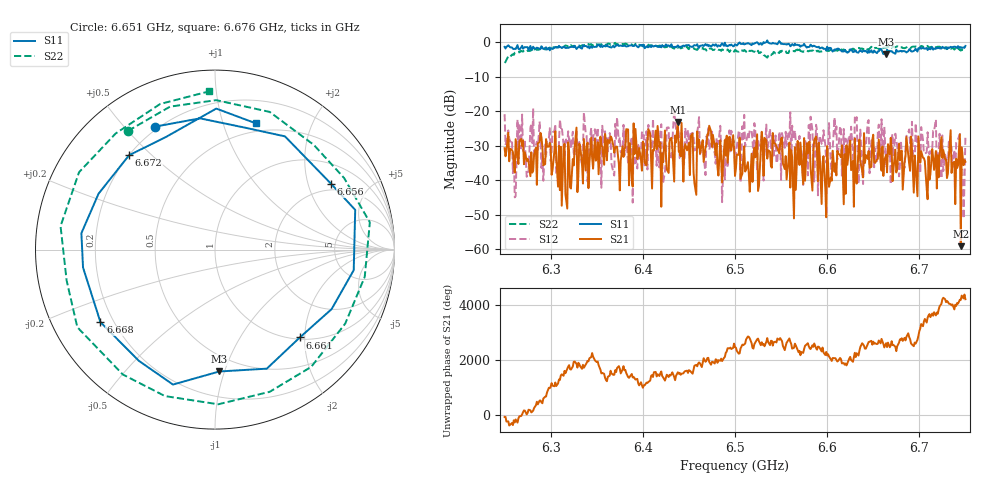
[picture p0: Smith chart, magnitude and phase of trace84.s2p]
# Hz S RI R 50
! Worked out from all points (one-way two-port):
!   401 points, 6.25 GHz to 6.75 GHz, reference 50 ohm
!   highest |S21| = -23.06 dB at 6.438 GHz (marker M1); lowest = -59.2 dB at 6.745 GHz (marker M2)
!   lowest |S11| = -3.4 dB at 6.664 GHz (marker M3), VSWR 5.24, Z = 19 - j48 ohm
!   |S11| at or under -10 dB: nowhere
!   |S22| runs from -5.9 to -0.1 dB; largest |S21 - S12| = 0.12
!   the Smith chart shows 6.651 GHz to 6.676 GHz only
!   S11 on the Smith chart (normalised r, x): 6.651 GHz: 0.19, +0.61; 6.656 GHz: 1.73, +2.83; 6.661 GHz: 1.04, -1.89; 6.668 GHz: 0.15, -0.28; 6.672 GHz: 0.20, +0.43; 6.676 GHz: 0.42, +1.29
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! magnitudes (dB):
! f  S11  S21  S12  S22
! 6.25 GHz  -1.3  -30.7  -20.8  -5.9
! 6.26 GHz  -1.9  -35.1  -32.4  -3.6
! 6.266 GHz  -2.1  -28.7  -23.6  -2.9
! 6.274 GHz  -1.4  -34.4  -39.0  -2.6
! 6.28 GHz  -1.9  -37.8  -29.2  -2.5
! 6.292 GHz  -1.9  -35.7  -40.2  -1.8
! 6.315 GHz  -1.3  -29.4  -33.7  -1.1
! 6.334 GHz  -1.8  -35.3  -35.6  -0.8
! 6.418 GHz  -1.3  -30.3  -36.3  -0.9
! 6.438 GHz  -0.8  -23.1  -25.2  -1.5
! 6.5 GHz  -0.5  -38.8  -36.5  -2.2
! 6.584 GHz  -1.2  -43.0  -25.4  -2.3
! 6.596 GHz  -1.8  -33.0  -25.5  -2.4
! 6.651 GHz  -2.4  -34.8  -36.3  -1.7
! 6.656 GHz  -2.6  -28.2  -23.9  -1.9
! 6.661 GHz  -3.3  -38.8  -32.2  -1.6
! 6.664 GHz  -3.4  -32.6  -36.4  -1.4
! 6.668 GHz  -2.4  -32.6  -30.2  -1.3
! 6.672 GHz  -3.0  -36.5  -33.2  -1.2
! 6.676 GHz  -2.6  -36.8  -29.9  -1.1
! 6.745 GHz  -1.3  -59.2  -34.6  -2.3
! 6.75 GHz  -1.0  -34.7  -27.7  -2.5
